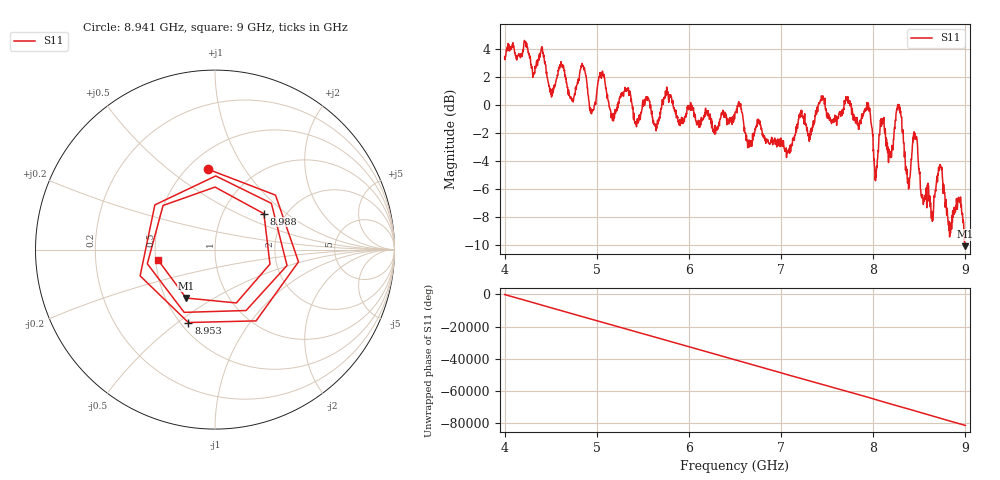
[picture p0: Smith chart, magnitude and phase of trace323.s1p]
! Created with skrf 1.8.0 (http://scikit-rf.org).
# Hz S RI R 50.0
!freq ReS11 ImS11
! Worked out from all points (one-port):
!   1601 points, 4 GHz to 9 GHz, reference 50 ohm
!   lowest |S11| = -10.1 dB at 8.997 GHz (marker M1), VSWR 1.92, Z = 31.7 - j19 ohm
!   |S11| at or under -10 dB: 8.995892 GHz to 8.997922 GHz (2.029 MHz wide, 0.0226 % of centre)
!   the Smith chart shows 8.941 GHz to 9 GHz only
!   S11 on the Smith chart (normalised r, x): 8.941 GHz: 0.62, +0.70; 8.953 GHz: 0.55, -0.55; 8.988 GHz: 1.56, +0.70; 9 GHz: 0.52, -0.07
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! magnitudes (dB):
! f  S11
! 4 GHz  3.4
! 4.506 GHz  0.9
! 4.625 GHz  2.8
! 4.728 GHz  0.3
! 4.853 GHz  2.8
! 4.944 GHz  -0.6
! 5.047 GHz  2.2
! 5.25 GHz  0.5
! 5.875 GHz  -0.9
! 6.5 GHz  -0.6
! 7.125 GHz  -2.4
! 7.75 GHz  0.0
! 7.947 GHz  0.1
! 8.031 GHz  -5.1
! 8.091 GHz  -1.4
! 8.191 GHz  -3.3
! 8.278 GHz  0.0
! 8.375 GHz  -5.4
! 8.453 GHz  -2.1
! 8.541 GHz  -6.8
! 8.644 GHz  -8.2
! 8.725 GHz  -4.2
! 8.828 GHz  -9.4
! 8.941 GHz  -6.9
! 8.953 GHz  -7.3
! 8.988 GHz  -9.4
! 8.997 GHz  -10.1
! 9 GHz  -9.9
